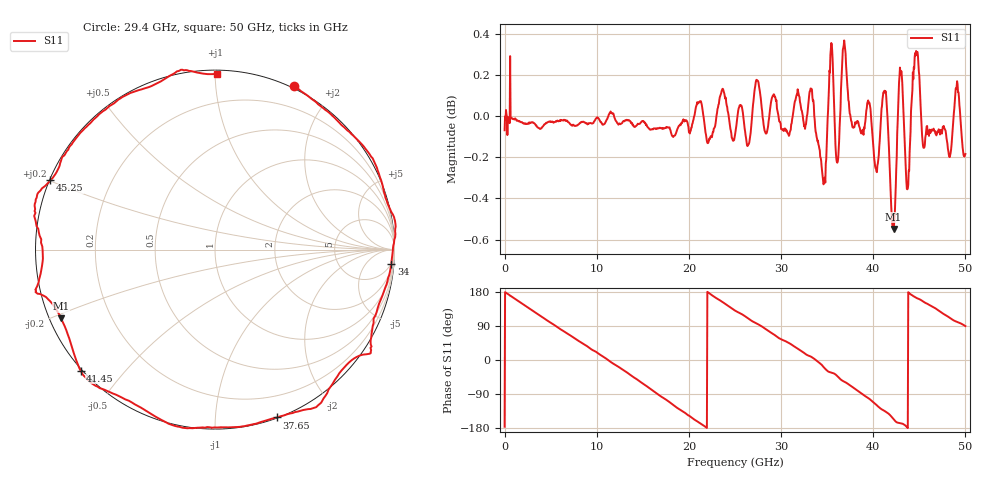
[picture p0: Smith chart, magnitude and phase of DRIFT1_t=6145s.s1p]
!Created with skrf (http://scikit-rf.org).
# Hz S RI R 50.0
!freq ReS11 ImS11
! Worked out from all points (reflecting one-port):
!   1001 points, 300 kHz to 50 GHz, reference 50 ohm
!   lowest |S11| = -0.5 dB at 42.2 GHz (marker M1), VSWR 31.72, Z = 1.65 - j10.6 ohm
!   phase of S11 starts at -176 deg and turns -814 deg over the sweep
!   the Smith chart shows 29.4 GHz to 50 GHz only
!   S11 on the Smith chart (normalised r, x): 29.4 GHz: -0.02, +1.59; 34 GHz: 4, -25; 37.65 GHz: 0.00, -1.44; 41.45 GHz: -0.00, -0.38; 45.25 GHz: 0.00, +0.20; 50 GHz: 0.02, +1.01
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300000  -0.9899 -0.0674
1.550291e9  -0.899 0.4311
3.30028e9  -0.581 0.8085
4.800271e9  -0.2 0.9767
6.250262e9  0.2006 0.9773
9.500243e9  0.8896 0.4478
1.115023e10  0.9983 0.021
1.250022e10  0.9332 -0.3474
1.580021e10  0.2429 -0.9623
1.73502e10  -0.2077 -0.9713
1.875019e10  -0.5937 -0.7958
2.155017e10  -0.9915 -0.1361
2.350016e10  -0.9212 0.4212
2.500015e10  -0.6415 0.7534
2.735014e10  -0.1118 1.014
2.940012e10  0.4383 0.91
3.125011e10  0.7803 0.6248
3.40001e10  0.9833 -0.0779
3.520009e10  0.868 -0.5288
3.750008e10  0.3868 -0.9231
3.765007e10  0.3463 -0.935
3.950006e10  -0.1958 -0.988
4.145005e10  -0.7488 -0.6745
4.220005e10  -0.8577 -0.382
4.375004e10  -0.9603 -0.00523
4.525003e10  -0.9166 0.3858
4.775001e10  -0.4951 0.8607
5e10  0.00945 0.979
